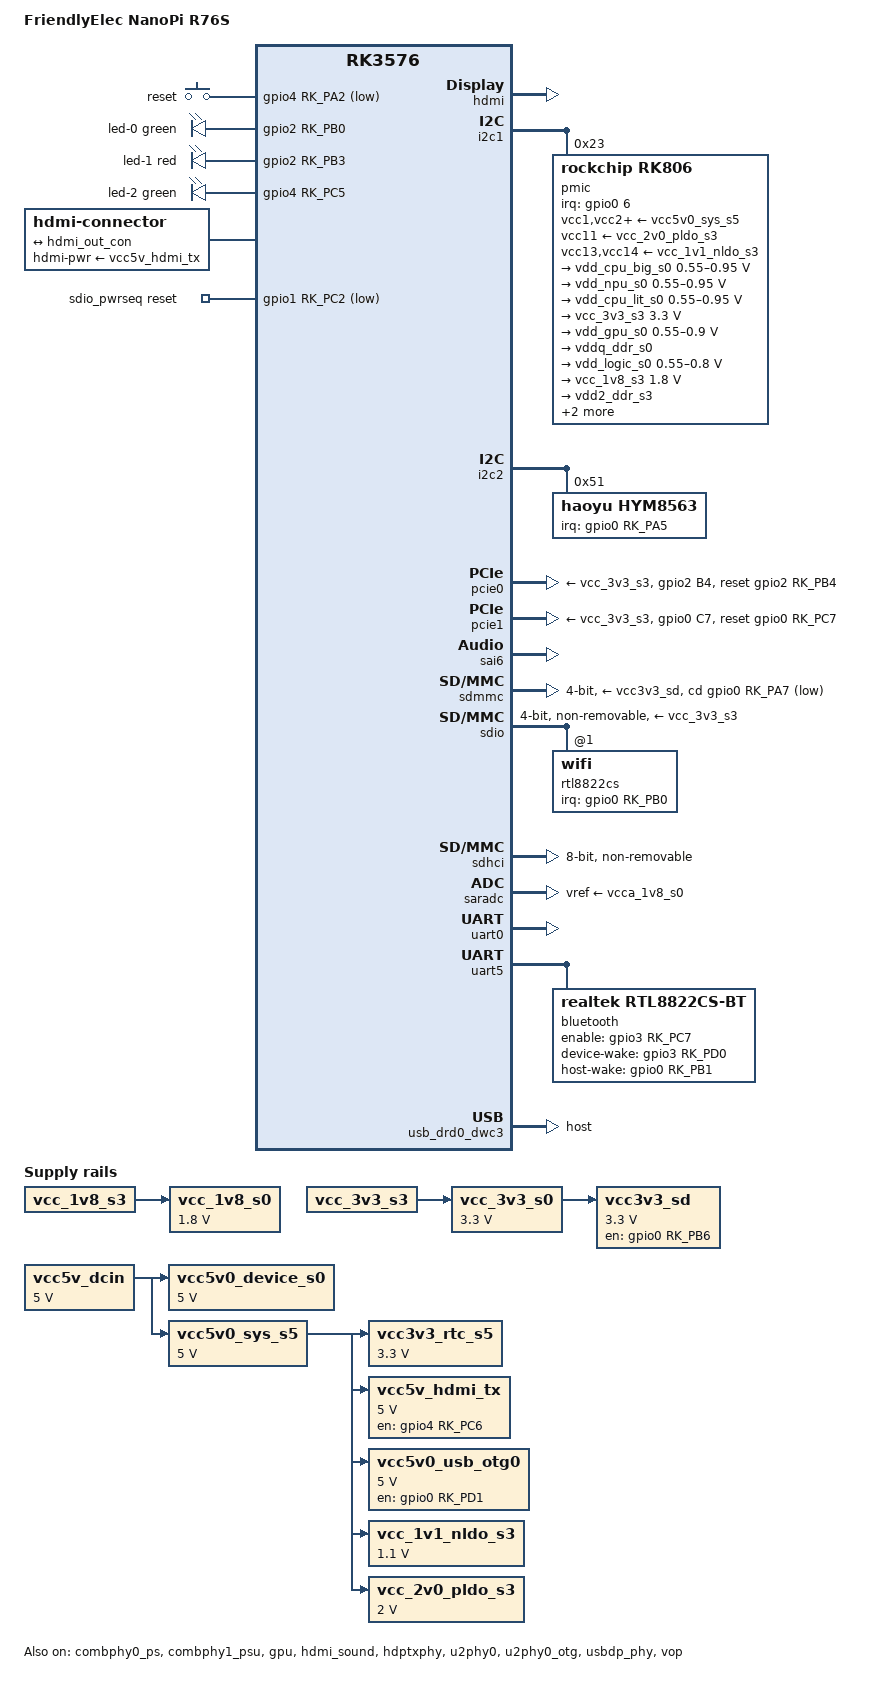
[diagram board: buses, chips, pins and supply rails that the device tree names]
// SPDX-License-Identifier: GPL-2.0-or-later OR MIT
/*
 * Copyright (c) 2025 FriendlyElec Computer Tech. Co., Ltd.
 * (http://www.friendlyelec.com)
 *
 * Copyright (c) 2025 Tianling Shen <cnsztl@gmail.com>
 */

/dts-v1/;
#include <dt-bindings/gpio/gpio.h>
#include <dt-bindings/input/input.h>
#include <dt-bindings/leds/common.h>
#include <dt-bindings/pinctrl/rockchip.h>
#include <dt-bindings/soc/rockchip,vop2.h>

#include "rk3576.dtsi"

/ {
	model = "FriendlyElec NanoPi R76S";
	compatible = "friendlyarm,nanopi-r76s", "rockchip,rk3576";

	aliases {
		mmc0 = &sdhci;
		mmc1 = &sdmmc;
		mmc2 = &sdio;
	};

	chosen {
		stdout-path = "serial0:1500000n8";
	};

	gpio-keys {
		compatible = "gpio-keys";
		pinctrl-names = "default";
		pinctrl-0 = <&user_but_pin>;

		button-reset {
			label = "reset";
			gpios = <&gpio4 RK_PA2 GPIO_ACTIVE_LOW>;
			debounce-interval = <50>;
			linux,code = <KEY_RESTART>;
			wakeup-source;
		};
	};

	gpio-leds {
		compatible = "gpio-leds";
		pinctrl-names = "default";
		pinctrl-0 = <&led1_h>, <&led_sys_h>, <&led2_h>;

		led-0 {
			color = <LED_COLOR_ID_GREEN>;
			function = LED_FUNCTION_LAN;
			gpios = <&gpio2 RK_PB0 GPIO_ACTIVE_HIGH>;
		};

		led-1 {
			color = <LED_COLOR_ID_RED>;
			function = LED_FUNCTION_POWER;
			gpios = <&gpio2 RK_PB3 GPIO_ACTIVE_HIGH>;
			linux,default-trigger = "heartbeat";
		};

		led-2 {
			color = <LED_COLOR_ID_GREEN>;
			function = LED_FUNCTION_WAN;
			gpios = <&gpio4 RK_PC5 GPIO_ACTIVE_HIGH>;
		};
	};

	hdmi-con {
		compatible = "hdmi-connector";
		hdmi-pwr-supply = <&vcc5v_hdmi_tx>;
		type = "a";

		port {
			hdmi_con_in: endpoint {
				remote-endpoint = <&hdmi_out_con>;
			};
		};
	};

	sdio_pwrseq: sdio-pwrseq {
		compatible = "mmc-pwrseq-simple";
		clocks = <&hym8563>;
		clock-names = "ext_clock";
		pinctrl-names = "default";
		pinctrl-0 = <&wifi_reg_on_h>;
		post-power-on-delay-ms = <200>;
		reset-gpios = <&gpio1 RK_PC2 GPIO_ACTIVE_LOW>;
	};

	vcc3v3_rtc_s5: regulator-vcc3v3-rtc-s5 {
		compatible = "regulator-fixed";
		regulator-always-on;
		regulator-boot-on;
		regulator-min-microvolt = <3300000>;
		regulator-max-microvolt = <3300000>;
		regulator-name = "vcc3v3_rtc_s5";
		vin-supply = <&vcc5v0_sys_s5>;
	};

	vcc5v_dcin: regulator-vcc5v-dcin {
		compatible = "regulator-fixed";
		regulator-always-on;
		regulator-boot-on;
		regulator-min-microvolt = <5000000>;
		regulator-max-microvolt = <5000000>;
		regulator-name = "vcc5v_dcin";
	};

	vcc5v_hdmi_tx: regulator-vcc5v-hdmi-tx {
		compatible = "regulator-fixed";
		enable-active-high;
		gpios = <&gpio4 RK_PC6 GPIO_ACTIVE_HIGH>;
		pinctrl-names = "default";
		pinctrl-0 = <&hdmi_tx_on_h>;
		regulator-min-microvolt = <5000000>;
		regulator-max-microvolt = <5000000>;
		regulator-name = "vcc5v_hdmi_tx";
		vin-supply = <&vcc5v0_sys_s5>;
	};

	vcc5v0_device_s0: regulator-vcc5v0-device-s0 {
		compatible = "regulator-fixed";
		regulator-always-on;
		regulator-boot-on;
		regulator-min-microvolt = <5000000>;
		regulator-max-microvolt = <5000000>;
		regulator-name = "vcc5v0_device_s0";
		vin-supply = <&vcc5v_dcin>;
	};

	vcc5v0_sys_s5: regulator-vcc5v0-sys-s5 {
		compatible = "regulator-fixed";
		regulator-always-on;
		regulator-boot-on;
		regulator-min-microvolt = <5000000>;
		regulator-max-microvolt = <5000000>;
		regulator-name = "vcc5v0_sys_s5";
		vin-supply = <&vcc5v_dcin>;
	};

	vcc5v0_usb_otg0: regulator-vcc5v0-usb-otg0 {
		compatible = "regulator-fixed";
		enable-active-high;
		gpios = <&gpio0 RK_PD1 GPIO_ACTIVE_HIGH>;
		pinctrl-names = "default";
		pinctrl-0 = <&usb_otg0_pwren_h>;
		regulator-min-microvolt = <5000000>;
		regulator-max-microvolt = <5000000>;
		regulator-name = "vcc5v0_usb_otg0";
		vin-supply = <&vcc5v0_sys_s5>;
	};

	vcc_1v1_nldo_s3: regulator-vcc-1v1-nldo-s3 {
		compatible = "regulator-fixed";
		regulator-always-on;
		regulator-boot-on;
		regulator-min-microvolt = <1100000>;
		regulator-max-microvolt = <1100000>;
		regulator-name = "vcc_1v1_nldo_s3";
		vin-supply = <&vcc5v0_sys_s5>;
	};

	vcc_1v8_s0: regulator-vcc-1v8-s0 {
		compatible = "regulator-fixed";
		regulator-always-on;
		regulator-boot-on;
		regulator-min-microvolt = <1800000>;
		regulator-max-microvolt = <1800000>;
		regulator-name = "vcc_1v8_s0";
		vin-supply = <&vcc_1v8_s3>;
	};

	vcc_2v0_pldo_s3: regulator-vcc-2v0-pldo-s3 {
		compatible = "regulator-fixed";
		regulator-always-on;
		regulator-boot-on;
		regulator-min-microvolt = <2000000>;
		regulator-max-microvolt = <2000000>;
		regulator-name = "vcc_2v0_pldo_s3";
		vin-supply = <&vcc5v0_sys_s5>;
	};

	vcc_3v3_s0: regulator-vcc-3v3-s0 {
		compatible = "regulator-fixed";
		regulator-always-on;
		regulator-boot-on;
		regulator-min-microvolt = <3300000>;
		regulator-max-microvolt = <3300000>;
		regulator-name = "vcc_3v3_s0";
		vin-supply = <&vcc_3v3_s3>;
	};

	vcc3v3_sd: regulator-vcc-3v3-sd {
		compatible = "regulator-fixed";
		enable-active-high;
		gpios = <&gpio0 RK_PB6 GPIO_ACTIVE_HIGH>;
		pinctrl-names = "default";
		pinctrl-0 = <&sdmmc_pwren>;
		regulator-name = "vcc3v3_sd";
		regulator-min-microvolt = <3300000>;
		regulator-max-microvolt = <3300000>;
		vin-supply = <&vcc_3v3_s0>;
	};
};

&combphy0_ps {
	status = "okay";
};

&combphy1_psu {
	status = "okay";
};

&cpu_b0 {
	cpu-supply = <&vdd_cpu_big_s0>;
};

&cpu_b1 {
	cpu-supply = <&vdd_cpu_big_s0>;
};

&cpu_b2 {
	cpu-supply = <&vdd_cpu_big_s0>;
};

&cpu_b3 {
	cpu-supply = <&vdd_cpu_big_s0>;
};

&cpu_l0 {
	cpu-supply = <&vdd_cpu_lit_s0>;
};

&cpu_l1 {
	cpu-supply = <&vdd_cpu_lit_s0>;
};

&cpu_l2 {
	cpu-supply = <&vdd_cpu_lit_s0>;
};

&cpu_l3 {
	cpu-supply = <&vdd_cpu_lit_s0>;
};

&gpu {
	mali-supply = <&vdd_gpu_s0>;
	status = "okay";
};

&hdmi {
	status = "okay";
};

&hdmi_in {
	hdmi_in_vp0: endpoint {
		remote-endpoint = <&vp0_out_hdmi>;
	};
};

&hdmi_out {
	hdmi_out_con: endpoint {
		remote-endpoint = <&hdmi_con_in>;
	};
};

&hdmi_sound {
	status = "okay";
};

&hdptxphy {
	status = "okay";
};

&i2c1 {
	status = "okay";

	pmic@23 {
		compatible = "rockchip,rk806";
		reg = <0x23>;
		#gpio-cells = <2>;
		gpio-controller;
		interrupt-parent = <&gpio0>;
		interrupts = <6 IRQ_TYPE_LEVEL_LOW>;
		pinctrl-names = "default";
		pinctrl-0 = <&pmic_pins>, <&rk806_dvs1_null>,
			    <&rk806_dvs2_null>, <&rk806_dvs3_null>;
		system-power-controller;

		vcc1-supply = <&vcc5v0_sys_s5>;
		vcc2-supply = <&vcc5v0_sys_s5>;
		vcc3-supply = <&vcc5v0_sys_s5>;
		vcc4-supply = <&vcc5v0_sys_s5>;
		vcc5-supply = <&vcc5v0_sys_s5>;
		vcc6-supply = <&vcc5v0_sys_s5>;
		vcc7-supply = <&vcc5v0_sys_s5>;
		vcc8-supply = <&vcc5v0_sys_s5>;
		vcc9-supply = <&vcc5v0_sys_s5>;
		vcc10-supply = <&vcc5v0_sys_s5>;
		vcc11-supply = <&vcc_2v0_pldo_s3>;
		vcc12-supply = <&vcc5v0_sys_s5>;
		vcc13-supply = <&vcc_1v1_nldo_s3>;
		vcc14-supply = <&vcc_1v1_nldo_s3>;
		vcca-supply = <&vcc5v0_sys_s5>;

		rk806_dvs1_null: dvs1-null-pins {
			pins = "gpio_pwrctrl1";
			function = "pin_fun0";
		};

		rk806_dvs1_pwrdn: dvs1-pwrdn-pins {
			pins = "gpio_pwrctrl1";
			function = "pin_fun2";
		};

		rk806_dvs1_rst: dvs1-rst-pins {
			pins = "gpio_pwrctrl1";
			function = "pin_fun3";
		};

		rk806_dvs1_slp: dvs1-slp-pins {
			pins = "gpio_pwrctrl1";
			function = "pin_fun1";
		};

		rk806_dvs2_dvs: dvs2-dvs-pins {
			pins = "gpio_pwrctrl2";
			function = "pin_fun4";
		};

		rk806_dvs2_gpio: dvs2-gpio-pins {
			pins = "gpio_pwrctrl2";
			function = "pin_fun5";
		};

		rk806_dvs2_null: dvs2-null-pins {
			pins = "gpio_pwrctrl2";
			function = "pin_fun0";
		};

		rk806_dvs2_pwrdn: dvs2-pwrdn-pins {
			pins = "gpio_pwrctrl2";
			function = "pin_fun2";
		};

		rk806_dvs2_rst: dvs2-rst-pins {
			pins = "gpio_pwrctrl2";
			function = "pin_fun3";
		};

		rk806_dvs2_slp: dvs2-slp-pins {
			pins = "gpio_pwrctrl2";
			function = "pin_fun1";
		};

		rk806_dvs3_dvs: dvs3-dvs-pins {
			pins = "gpio_pwrctrl3";
			function = "pin_fun4";
		};

		rk806_dvs3_gpio: dvs3-gpio-pins {
			pins = "gpio_pwrctrl3";
			function = "pin_fun5";
		};

		rk806_dvs3_null: dvs3-null-pins {
			pins = "gpio_pwrctrl3";
			function = "pin_fun0";
		};

		rk806_dvs3_pwrdn: dvs3-pwrdn-pins {
			pins = "gpio_pwrctrl3";
			function = "pin_fun2";
		};

		rk806_dvs3_rst: dvs3-rst-pins {
			pins = "gpio_pwrctrl3";
			function = "pin_fun3";
		};

		rk806_dvs3_slp: dvs3-slp-pins {
			pins = "gpio_pwrctrl3";
			function = "pin_fun1";
		};

		regulators {
			vdd_cpu_big_s0: dcdc-reg1 {
				regulator-always-on;
				regulator-boot-on;
				regulator-enable-ramp-delay = <400>;
				regulator-min-microvolt = <550000>;
				regulator-max-microvolt = <950000>;
				regulator-name = "vdd_cpu_big_s0";
				regulator-ramp-delay = <12500>;

				regulator-state-mem {
					regulator-off-in-suspend;
				};
			};

			vdd_npu_s0: dcdc-reg2 {
				regulator-boot-on;
				regulator-enable-ramp-delay = <400>;
				regulator-min-microvolt = <550000>;
				regulator-max-microvolt = <950000>;
				regulator-name = "vdd_npu_s0";
				regulator-ramp-delay = <12500>;

				regulator-state-mem {
					regulator-off-in-suspend;
				};
			};

			vdd_cpu_lit_s0: dcdc-reg3 {
				regulator-always-on;
				regulator-boot-on;
				regulator-min-microvolt = <550000>;
				regulator-max-microvolt = <950000>;
				regulator-name = "vdd_cpu_lit_s0";
				regulator-ramp-delay = <12500>;

				regulator-state-mem {
					regulator-off-in-suspend;
					regulator-suspend-microvolt = <750000>;
				};
			};

			vcc_3v3_s3: dcdc-reg4 {
				regulator-always-on;
				regulator-boot-on;
				regulator-min-microvolt = <3300000>;
				regulator-max-microvolt = <3300000>;
				regulator-name = "vcc_3v3_s3";

				regulator-state-mem {
					regulator-on-in-suspend;
					regulator-suspend-microvolt = <3300000>;
				};
			};

			vdd_gpu_s0: dcdc-reg5 {
				regulator-boot-on;
				regulator-enable-ramp-delay = <400>;
				regulator-min-microvolt = <550000>;
				regulator-max-microvolt = <900000>;
				regulator-name = "vdd_gpu_s0";
				regulator-ramp-delay = <12500>;

				regulator-state-mem {
					regulator-off-in-suspend;
					regulator-suspend-microvolt = <850000>;
				};
			};

			vddq_ddr_s0: dcdc-reg6 {
				regulator-always-on;
				regulator-boot-on;
				regulator-name = "vddq_ddr_s0";

				regulator-state-mem {
					regulator-off-in-suspend;
				};
			};

			vdd_logic_s0: dcdc-reg7 {
				regulator-always-on;
				regulator-boot-on;
				regulator-min-microvolt = <550000>;
				regulator-max-microvolt = <800000>;
				regulator-name = "vdd_logic_s0";

				regulator-state-mem {
					regulator-off-in-suspend;
				};
			};

			vcc_1v8_s3: dcdc-reg8 {
				regulator-always-on;
				regulator-boot-on;
				regulator-min-microvolt = <1800000>;
				regulator-max-microvolt = <1800000>;
				regulator-name = "vcc_1v8_s3";

				regulator-state-mem {
					regulator-on-in-suspend;
					regulator-suspend-microvolt = <1800000>;
				};
			};

			vdd2_ddr_s3: dcdc-reg9 {
				regulator-always-on;
				regulator-boot-on;
				regulator-name = "vdd2_ddr_s3";

				regulator-state-mem {
					regulator-on-in-suspend;
				};
			};

			vdd_ddr_s0: dcdc-reg10 {
				regulator-always-on;
				regulator-boot-on;
				regulator-min-microvolt = <550000>;
				regulator-max-microvolt = <1200000>;
				regulator-name = "vdd_ddr_s0";

				regulator-state-mem {
					regulator-off-in-suspend;
				};
			};

			vcca_1v8_s0: pldo-reg1 {
				regulator-always-on;
				regulator-boot-on;
				regulator-min-microvolt = <1800000>;
				regulator-max-microvolt = <1800000>;
				regulator-name = "vcca_1v8_s0";

				regulator-state-mem {
					regulator-off-in-suspend;
				};
			};

			vcca1v8_pldo2_s0: pldo-reg2 {
				regulator-always-on;
				regulator-boot-on;
				regulator-min-microvolt = <1800000>;
				regulator-max-microvolt = <1800000>;
				regulator-name = "vcca1v8_pldo2_s0";

				regulator-state-mem {
					regulator-off-in-suspend;
				};
			};

			vdda_1v2_s0: pldo-reg3 {
				regulator-always-on;
				regulator-boot-on;
				regulator-min-microvolt = <1200000>;
				regulator-max-microvolt = <1200000>;
				regulator-name = "vdda_1v2_s0";

				regulator-state-mem {
					regulator-off-in-suspend;
				};
			};

			vcca_3v3_s0: pldo-reg4 {
				regulator-always-on;
				regulator-boot-on;
				regulator-min-microvolt = <3300000>;
				regulator-max-microvolt = <3300000>;
				regulator-name = "vcca_3v3_s0";

				regulator-state-mem {
					regulator-off-in-suspend;
				};
			};

			vccio_sd_s0: pldo-reg5 {
				regulator-always-on;
				regulator-boot-on;
				regulator-min-microvolt = <1800000>;
				regulator-max-microvolt = <3300000>;
				regulator-name = "vccio_sd_s0";

				regulator-state-mem {
					regulator-off-in-suspend;
				};
			};

			vcca1v8_pldo6_s3: pldo-reg6 {
				regulator-always-on;
				regulator-boot-on;
				regulator-min-microvolt = <1800000>;
				regulator-max-microvolt = <1800000>;
				regulator-name = "vcca1v8_pldo6_s3";

				regulator-state-mem {
					regulator-on-in-suspend;
					regulator-suspend-microvolt = <1800000>;
				};
			};

			vdd_0v75_s3: nldo-reg1 {
				regulator-always-on;
				regulator-boot-on;
				regulator-min-microvolt = <750000>;
				regulator-max-microvolt = <750000>;
				regulator-name = "vdd_0v75_s3";

				regulator-state-mem {
					regulator-on-in-suspend;
					regulator-suspend-microvolt = <750000>;
				};
			};

			vdda_ddr_pll_s0: nldo-reg2 {
				regulator-always-on;
				regulator-boot-on;
				regulator-min-microvolt = <850000>;
				regulator-max-microvolt = <850000>;
				regulator-name = "vdda_ddr_pll_s0";

				regulator-state-mem {
					regulator-off-in-suspend;
				};
			};

			vdda0v75_hdmi_s0: nldo-reg3 {
				regulator-always-on;
				regulator-boot-on;
				regulator-min-microvolt = <837500>;
				regulator-max-microvolt = <837500>;
				regulator-name = "vdda0v75_hdmi_s0";

				regulator-state-mem {
					regulator-off-in-suspend;
				};
			};

			vdda_0v85_s0: nldo-reg4 {
				regulator-always-on;
				regulator-boot-on;
				regulator-min-microvolt = <850000>;
				regulator-max-microvolt = <850000>;
				regulator-name = "vdda_0v85_s0";

				regulator-state-mem {
					regulator-off-in-suspend;
				};
			};

			vdda_0v75_s0: nldo-reg5 {
				regulator-always-on;
				regulator-boot-on;
				regulator-min-microvolt = <750000>;
				regulator-max-microvolt = <750000>;
				regulator-name = "vdda_0v75_s0";

				regulator-state-mem {
					regulator-off-in-suspend;
				};
			};
		};
	};
};

&i2c2 {
	status = "okay";

	hym8563: rtc@51 {
		compatible = "haoyu,hym8563";
		reg = <0x51>;
		#clock-cells = <0>;
		clock-output-names = "hym8563";
		interrupt-parent = <&gpio0>;
		interrupts = <RK_PA5 IRQ_TYPE_LEVEL_LOW>;
		pinctrl-names = "default";
		pinctrl-0 = <&rtc_int_l>;
		wakeup-source;
	};
};

&pcie0 {
	pinctrl-names = "default";
	pinctrl-0 = <&pcie0_perstn>;
	reset-gpios = <&gpio2 RK_PB4 GPIO_ACTIVE_HIGH>;
	vpcie3v3-supply = <&vcc_3v3_s3>;
	status = "okay";
};

&pcie1 {
	pinctrl-names = "default";
	pinctrl-0 = <&pcie1_perstn>;
	reset-gpios = <&gpio0 RK_PC7 GPIO_ACTIVE_HIGH>;
	vpcie3v3-supply = <&vcc_3v3_s3>;
	status = "okay";
};

&pinctrl {
	bt {
		bt_reg_on_h: bt-reg-on-h {
			rockchip,pins = <3 RK_PC7 RK_FUNC_GPIO &pcfg_pull_up>;
		};

		bt_wake_host_h: bt-wake-host-h {
			rockchip,pins = <0 RK_PB1 RK_FUNC_GPIO &pcfg_pull_down>;
		};

		host_wake_bt_h: host-wake-bt-h {
			rockchip,pins = <3 RK_PD0 RK_FUNC_GPIO &pcfg_pull_up>;
		};
	};

	gpio-keys {
		user_but_pin: user-but-pin {
			rockchip,pins = <4 RK_PA2 RK_FUNC_GPIO &pcfg_pull_up>;
		};
	};

	gpio-leds {
		led_sys_h: led-sys-h {
			rockchip,pins = <2 RK_PB3 RK_FUNC_GPIO &pcfg_pull_none>;
		};

		led1_h: led1-h {
			rockchip,pins = <2 RK_PB0 RK_FUNC_GPIO &pcfg_pull_none>;
		};

		led2_h: led2-h {
			rockchip,pins = <4 RK_PC5 RK_FUNC_GPIO &pcfg_pull_none>;
		};
	};

	hdmi {
		hdmi_tx_on_h: hdmi-tx-on-h {
			rockchip,pins = <4 RK_PC6 RK_FUNC_GPIO &pcfg_pull_none>;
		};
	};

	hym8563 {
		rtc_int_l: rtc-int-l {
			rockchip,pins = <0 RK_PA5 RK_FUNC_GPIO &pcfg_pull_up>;
		};
	};

	pcie {
		pcie0_perstn: pcie0-perstn {
			rockchip,pins = <2 RK_PB4 RK_FUNC_GPIO &pcfg_pull_up>;
		};

		pcie1_perstn: pcie1-perstn {
			rockchip,pins = <0 RK_PC7 RK_FUNC_GPIO &pcfg_pull_up>;
		};
	};

	sdmmc {
		sdmmc_pwren: sdmmc-pwren {
			rockchip,pins = <0 RK_PB6 RK_FUNC_GPIO &pcfg_pull_none>;
		};
	};

	usb {
		usb_otg0_pwren_h: usb-otg0-pwren-h {
			rockchip,pins = <0 RK_PD1 RK_FUNC_GPIO &pcfg_pull_none>;
		};
	};

	wifi {
		wifi_wake_host_h: wifi-wake-host-h {
			rockchip,pins = <0 RK_PB0 RK_FUNC_GPIO &pcfg_pull_down>;
		};

		wifi_reg_on_h: wifi-reg-on-h {
			rockchip,pins = <1 RK_PC2 RK_FUNC_GPIO &pcfg_pull_none>;
		};
	};
};

&sai6 {
	status = "okay";
};

&sdmmc {
	bus-width = <4>;
	cap-mmc-highspeed;
	cap-sd-highspeed;
	cd-gpios = <&gpio0 RK_PA7 GPIO_ACTIVE_LOW>;
	disable-wp;
	no-mmc;
	no-sdio;
	pinctrl-names = "default";
	pinctrl-0 = <&sdmmc0_clk &sdmmc0_cmd &sdmmc0_det &sdmmc0_bus4>;
	sd-uhs-sdr104;
	vmmc-supply = <&vcc3v3_sd>;
	vqmmc-supply = <&vccio_sd_s0>;
	status = "okay";
};

&sdio {
	#address-cells = <1>;
	#size-cells = <0>;
	bus-width = <4>;
	cap-sd-highspeed;
	cap-sdio-irq;
	disable-wp;
	keep-power-in-suspend;
	mmc-pwrseq = <&sdio_pwrseq>;
	no-mmc;
	no-sd;
	non-removable;
	sd-uhs-sdr104;
	vmmc-supply = <&vcc_3v3_s3>;
	vqmmc-supply = <&vcc_1v8_s3>;
	wakeup-source;
	status = "okay";

	rtl8822cs: wifi@1 {
		reg = <1>;
		interrupt-parent = <&gpio0>;
		interrupts = <RK_PB0 IRQ_TYPE_LEVEL_HIGH>;
		interrupt-names = "host-wake";
		pinctrl-names = "default";
		pinctrl-0 = <&wifi_wake_host_h>;
	};
};

&sdhci {
	bus-width = <8>;
	cap-mmc-highspeed;
	full-pwr-cycle-in-suspend;
	mmc-hs400-1_8v;
	mmc-hs400-enhanced-strobe;
	no-sdio;
	no-sd;
	non-removable;
	status = "okay";
};

&saradc {
	vref-supply = <&vcca_1v8_s0>;
	status = "okay";
};

&u2phy0 {
	status = "okay";
};

&u2phy0_otg {
	phy-supply = <&vcc5v0_usb_otg0>;
	status = "okay";
};

&uart0 {
	status = "okay";
};

&uart5 {
	pinctrl-names = "default";
	pinctrl-0 = <&uart5m0_xfer &uart5m0_ctsn &uart5m0_rtsn>;
	uart-has-rtscts;
	status = "okay";

	bluetooth {
		compatible = "realtek,rtl8822cs-bt";
		enable-gpios = <&gpio3 RK_PC7 GPIO_ACTIVE_HIGH>;
		device-wake-gpios = <&gpio3 RK_PD0 GPIO_ACTIVE_HIGH>;
		host-wake-gpios = <&gpio0 RK_PB1 GPIO_ACTIVE_HIGH>;
		pinctrl-names = "default";
		pinctrl-0 = <&bt_wake_host_h &host_wake_bt_h &bt_reg_on_h>;
	};
};

&usbdp_phy {
	status = "okay";
};

&usb_drd0_dwc3 {
	dr_mode = "host";
	extcon = <&u2phy0>;
	status = "okay";
};

&vop {
	status = "okay";
};

&vop_mmu {
	status = "okay";
};

&vp0 {
	vp0_out_hdmi: endpoint@ROCKCHIP_VOP2_EP_HDMI0 {
		reg = <ROCKCHIP_VOP2_EP_HDMI0>;
		remote-endpoint = <&hdmi_in_vp0>;
	};
};
